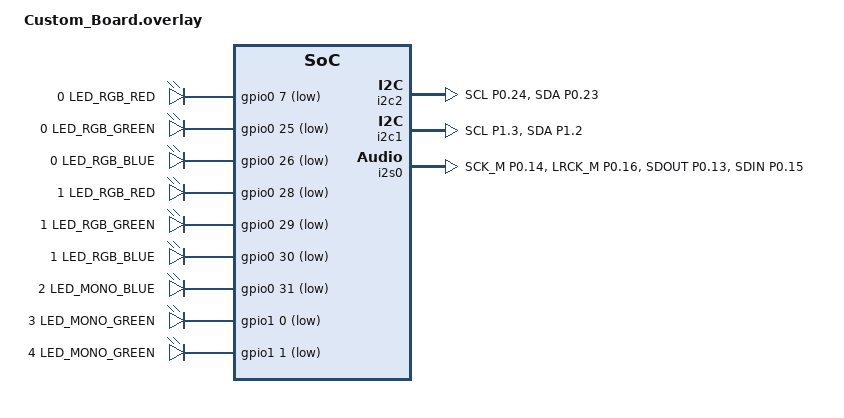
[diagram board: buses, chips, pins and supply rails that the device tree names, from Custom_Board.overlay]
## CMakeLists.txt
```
# SPDX-License-Identifier: Apache-2.0

cmake_minimum_required(VERSION 3.20.0)
find_package(Zephyr REQUIRED HINTS $ENV{ZEPHYR_BASE})
project(bap_broadcast_sink)

target_sources(app PRIVATE
  src/main.c
  src/stream_rx.c
)

target_sources_ifdef(CONFIG_ENABLE_LC3 app PRIVATE src/lc3.c)

if (CONFIG_USE_USB_AUDIO_OUTPUT)
  include(${ZEPHYR_BASE}/samples/subsys/usb/common/common.cmake)
  target_sources(app PRIVATE src/usb.c)
endif()

target_sources_ifdef(CONFIG_USE_I2S_CODEC_OUTPUT app PRIVATE
  src/codec_output.c
  src/codec_sgtl5000.c
  src/i2c_helpers.c
  src/pmic.c
)
```

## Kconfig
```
# Copyright (c) 2022 Nordic Semiconductor ASA
# SPDX-License-Identifier: Apache-2.0

mainmenu "Bluetooth: Broadcast Audio Sink"

config SCAN_OFFLOAD
	bool "Whether to wait for a Broadcast Assistant"
	default y
	# enable PAST support if we can
	select BT_PER_ADV_SYNC_TRANSFER_RECEIVER if !BT_CTLR || BT_CTLR_SYNC_TRANSFER_RECEIVER_SUPPORT
	help
	  If set to true, the sample will start advertising connectable for
	  Broadcast Assistants.

config SCAN_SELF
	bool "Whether to scan for Broadcast Sources without Broadcast Assistant"
	default y
	help
	  If set to true, the sample will start scanning for Broadcast Sources
	  without waiting for a Broadcast Assistant to connect.

config SCAN_DELAY
	int "Delay before starting scan (in seconds)"
	range 0 255
	default 10
	depends on SCAN_SELF
	help
	  Time to advertise connectable for a Broadcast Assistant to connect
	  before starting scanning for Broadcast Sources.

config TARGET_BROADCAST_NAME
	string "Target Broadcast Device Name"
	default ""
	help
	  Name of target broadcast device. If not empty string, sink device
	  will only listen to the specified broadcast source. Not case sensitive.

config MAX_CODEC_FRAMES_PER_SDU
	int "The maximum number of codec frame per SDU supported"
	default 1
	range 1 255
	help
	  Maximum number of codec frames per SDU supported by this device. Increasing this value
	  allows support for a greater variety of broadcasts, but also increases memory usage.

config ENABLE_LC3
	bool "Enable the LC3 codec"
	# By default let's enable it in the platforms we know are capable of supporting it
	default y
	depends on CPU_HAS_FPU && \
		(ARCH_POSIX || SOC_COMPATIBLE_NRF52X || SOC_COMPATIBLE_NRF5340_CPUAPP)
	select LIBLC3
	select FPU

config USE_USB_AUDIO_OUTPUT
	bool "Use USB Audio as output"
	depends on ENABLE_LC3
	depends on !USE_I2S_CODEC_OUTPUT
	select USB_DEVICE_STACK_NEXT
	select USBD_AUDIO2_CLASS
	select RING_BUFFER
	help
	  Enables USB audio as output as a USB peripheral. This does not support providing USB
	  audio to e.g. speakers that are also USB peripherals, but can be connected to e.g. a
	  phone or PC as a USB-in device (such as a USB microphone).
	  USB audio only supports a single audio channel.

config USE_I2S_CODEC_OUTPUT
	bool "Use I2S codec as output"
	depends on ENABLE_LC3
	select I2C
	select I2S
	help
	  Enables output of decoded PCM audio to an external codec through I2S.
	  This is intended for hardware variants using the SGTL5000 codec and
	  companion PMIC configuration from the nrf5340_audio_dk based setup.

config USE_SPECIFIC_BROADCAST_CHANNEL
	bool "Use specific Broadcast Channel Audio Location"
	default y
	depends on USE_USB_AUDIO_OUTPUT
	help
	  Enables the use of a specific Channel Audio Location (see config TARGET_BROADCAST_CHANNEL).

config TARGET_BROADCAST_CHANNEL
	int "Broadcast Channel Audio Location to sync to"
	range 0 3
	default 1
	depends on USE_SPECIFIC_BROADCAST_CHANNEL
	help
	  Channel Audio Location to sync to. These corresponds to the bt_audio_location,
	  supporting mono, left and right channels

config INFO_REPORTING_INTERVAL
	int "Number of SDUs received between each information report"
	default 1000
	help
	  Determines how often information about received data is logged.
	  Set to 0 to disable reporting.

# Source common USB sample options used to initialize new experimental USB device stack.
# The scope of these options is limited to USB samples in project tree,
# you cannot use them in your own application.
source "samples/subsys/usb/common/Kconfig.sample_usbd"

source "Kconfig.zephyr"
```

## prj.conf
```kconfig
CONFIG_BT=y
CONFIG_LOG=y
CONFIG_BT_AUDIO=y
CONFIG_BT_SMP=y
CONFIG_BT_PAC_SNK=y
CONFIG_BT_PERIPHERAL=y
CONFIG_BT_GAP_AUTO_UPDATE_CONN_PARAMS=n
# Set preferred values based on BT_BAP_CONN_PARAM_RELAXED
CONFIG_BT_PERIPHERAL_PREF_MIN_INT=50
CONFIG_BT_PERIPHERAL_PREF_MAX_INT=70
CONFIG_BT_PERIPHERAL_PREF_LATENCY=0
CONFIG_BT_PERIPHERAL_PREF_TIMEOUT=400
CONFIG_BT_OBSERVER=y
CONFIG_BT_GATT_DYNAMIC_DB=y
CONFIG_BT_EXT_ADV=y
CONFIG_BT_PER_ADV_SYNC=y
CONFIG_BT_ISO_SYNC_RECEIVER=y
CONFIG_BT_BAP_BROADCAST_SINK=y
CONFIG_BT_BAP_SCAN_DELEGATOR=y
CONFIG_BT_ISO_MAX_CHAN=2
# Allocate 4 RX buffers per channel
CONFIG_BT_ISO_RX_BUF_COUNT=8
CONFIG_BT_BAP_BROADCAST_SNK_SUBGROUP_COUNT=2
CONFIG_BT_BAP_BROADCAST_SNK_STREAM_COUNT=2
CONFIG_BT_BAP_BASS_MAX_SUBGROUPS=2
CONFIG_BT_BUF_ACL_RX_SIZE=255
CONFIG_BT_BUF_ACL_TX_SIZE=251
CONFIG_BT_AUDIO_CODEC_CFG_MAX_METADATA_SIZE=64
CONFIG_BT_AUDIO_CODEC_CFG_MAX_DATA_SIZE=64
CONFIG_BT_AUDIO_CODEC_CAP_MAX_METADATA_SIZE=64
CONFIG_BT_AUDIO_CODEC_CAP_MAX_DATA_SIZE=64

CONFIG_BT_DEVICE_NAME="Broadcast Audio Sink"

CONFIG_USE_USB_AUDIO_OUTPUT=n
```

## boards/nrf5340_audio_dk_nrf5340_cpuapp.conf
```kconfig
# Use USB Audio as audio sink
CONFIG_USE_USB_AUDIO_OUTPUT=n
CONFIG_USE_I2S_CODEC_OUTPUT=y
#CONFIG_SAMPLE_USBD_PRODUCT="USB Broadcast Sink sample"
```

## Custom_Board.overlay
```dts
&{/} {
    leds {
        compatible = "gpio-leds";

        rgb1_red: led_0 {
			gpios = <&gpio0 7 (GPIO_ACTIVE_LOW | GPIO_OPEN_DRAIN)>;
			label = "0 LED_RGB_RED";
		};

		rgb1_green: led_1 {
			gpios = <&gpio0 25 (GPIO_ACTIVE_LOW | GPIO_OPEN_DRAIN)>;
			label = "0 LED_RGB_GREEN";
		};

		rgb1_blue: led_2 {
			gpios = <&gpio0 26 (GPIO_ACTIVE_LOW | GPIO_OPEN_DRAIN)>;
			label = "0 LED_RGB_BLUE";
		};

		rgb2_red: led_3 {
			gpios = <&gpio0 28 (GPIO_ACTIVE_LOW | GPIO_OPEN_DRAIN)>;
			label = "1 LED_RGB_RED";
		};

		rgb2_green: led_4 {
			gpios = <&gpio0 29 (GPIO_ACTIVE_LOW | GPIO_OPEN_DRAIN)>;
			label = "1 LED_RGB_GREEN";
		};

		rgb2_blue: led_5 {
			gpios = <&gpio0 30 (GPIO_ACTIVE_LOW | GPIO_OPEN_DRAIN)>;
			label = "1 LED_RGB_BLUE";
		};

		led1_blue: led_6 {
			gpios = <&gpio0 31 (GPIO_ACTIVE_LOW | GPIO_OPEN_DRAIN)>;
			label = "2 LED_MONO_BLUE";
		};

		led2_green: led_7 {
			gpios = <&gpio1 0 (GPIO_ACTIVE_LOW | GPIO_OPEN_DRAIN)>;
			label = "3 LED_MONO_GREEN";
		};

		led3_green: led_8 {
			gpios = <&gpio1 1 (GPIO_ACTIVE_LOW | GPIO_OPEN_DRAIN)>;
			label = "4 LED_MONO_GREEN";
		};
    };
};

&i2c2 {
    status = "okay";
    pinctrl-0 = <&i2c2_default>;
    pinctrl-1 = <&i2c2_sleep>;
    pinctrl-names = "default", "sleep";
};

&pinctrl {
    i2c2_default: i2c2_default {
        group1 {
            psels = <NRF_PSEL(TWIM_SCL, 0, 24)>, <NRF_PSEL(TWIM_SDA, 0, 23)>;
        };
    };

    i2c2_sleep: i2c2_sleep {
        group1 {
            psels = <NRF_PSEL(TWIM_SCL, 0, 24)>, <NRF_PSEL(TWIM_SDA, 0, 23)>;
        };
    };
};

&i2c1 {
    status = "okay";
    pinctrl-0 = <&i2c1_default>;
    pinctrl-1 = <&i2c1_sleep>;
    pinctrl-names = "default", "sleep";
};

&clock {
	hfclkaudio-frequency = <12288000>;
};

&i2s0 {
	compatible = "nordic,nrf-i2s";
	status = "okay";
	pinctrl-0 = <&i2s0_default>;
	pinctrl-1 = <&i2s0_sleep>;
	pinctrl-names = "default", "sleep";
	clock-source = "ACLK";
};

&pinctrl {
    i2c1_default: i2c1_default {
        group1 {
            psels = <NRF_PSEL(TWIM_SCL, 1, 3)>,
                    <NRF_PSEL(TWIM_SDA, 1, 2)>;
        };
    };

    i2c1_sleep: i2c1_sleep {
        group1 {
            psels = <NRF_PSEL(TWIM_SCL, 1, 3)>,
                    <NRF_PSEL(TWIM_SDA, 1, 2)>;
        };
    };

	i2s0_default: i2s0_default {
		group1 {
			psels = <NRF_PSEL(I2S_SCK_M, 0, 14)>,
				<NRF_PSEL(I2S_LRCK_M, 0, 16)>,
				<NRF_PSEL(I2S_SDOUT, 0, 13)>,
				<NRF_PSEL(I2S_SDIN, 0, 15)>;
		};
	};

	i2s0_sleep: i2s0_sleep {
		group1 {
			psels = <NRF_PSEL(I2S_SCK_M, 0, 14)>,
				<NRF_PSEL(I2S_LRCK_M, 0, 16)>,
				<NRF_PSEL(I2S_SDOUT, 0, 13)>,
				<NRF_PSEL(I2S_SDIN, 0, 15)>;
			low-power-enable;
		};
	};
};
```

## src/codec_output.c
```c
/*
 * Copyright (c) 2026
 *
 * SPDX-License-Identifier: Apache-2.0
 */

#include <errno.h>
#include <stdbool.h>
#include <stddef.h>
#include <stdint.h>
#include <string.h>

#include <zephyr/device.h>
#include <zephyr/drivers/i2s.h>
#include <zephyr/kernel.h>
#include <zephyr/logging/log.h>
#include <zephyr/sys/util.h>

#include "codec_output.h"
#include "codec_sgtl5000.h"
#include "lc3.h"
#include "pmic.h"

LOG_MODULE_REGISTER(codec_output, CONFIG_LOG_DEFAULT_LEVEL);

#define I2S_CODEC_BLOCK_SIZE_BYTES     (LC3_MAX_NUM_SAMPLES_STEREO * sizeof(int16_t))
#define I2S_CODEC_BLOCK_COUNT          24U
#define I2S_CODEC_DRIVER_PRELOAD_BLOCKS 4U
#define I2S_CODEC_MIN_BUFFER_US        120000U
#define I2S_CODEC_TIMEOUT_MS           1000
#define CODEC_OUTPUT_THREAD_STACK_SIZE 2048
#define CODEC_OUTPUT_THREAD_PRIORITY   2

struct decoded_sdu {
	int16_t right_frames[CONFIG_MAX_CODEC_FRAMES_PER_SDU][LC3_MAX_NUM_SAMPLES_MONO];
	int16_t left_frames[CONFIG_MAX_CODEC_FRAMES_PER_SDU][LC3_MAX_NUM_SAMPLES_MONO];
	size_t right_frames_cnt;
	size_t left_frames_cnt;
	size_t mono_frames_cnt;
	size_t frame_size_bytes;
	uint32_t ts;
};

struct codec_output_block {
	void *mem_block;
	size_t size;
	uint32_t session_id;
};

K_MEM_SLAB_DEFINE_STATIC(i2s_tx_slab, I2S_CODEC_BLOCK_SIZE_BYTES, I2S_CODEC_BLOCK_COUNT, 4);
K_MSGQ_DEFINE(codec_output_msgq, sizeof(struct codec_output_block), I2S_CODEC_BLOCK_COUNT, 4);
K_SEM_DEFINE(codec_output_start_sem, 0, 1);

static const struct device *const codec_i2s = DEVICE_DT_GET(DT_NODELABEL(i2s0));
static struct decoded_sdu decoded_sdu;
static struct k_thread codec_output_thread;
static K_KERNEL_STACK_DEFINE(codec_output_thread_stack, CODEC_OUTPUT_THREAD_STACK_SIZE);
static bool initialized;
static bool pmic_initialized;
static bool tx_started;
static bool worker_initialized;
static uint32_t current_sample_rate_hz;
static uint32_t configured_presentation_delay_us;
static uint32_t current_session_id;
static size_t current_stereo_frame_bytes;

static bool ts_overflowed(uint32_t ts)
{
	/* If the timestamp differs by roughly an order of magnitude, assume wraparound. */
	return ((uint64_t)ts * 10U) < decoded_sdu.ts;
}

static uint32_t next_session_id(uint32_t session_id)
{
	session_id++;

	if (session_id == 0U) {
		session_id++;
	}

	return session_id;
}

static uint32_t codec_output_get_frame_duration_us(size_t stereo_frame_bytes)
{
	const uint64_t mono_samples = stereo_frame_bytes / (2U * sizeof(int16_t));

	if (current_sample_rate_hz == 0U || stereo_frame_bytes == 0U) {
		return 0U;
	}

	return (uint32_t)((mono_samples * USEC_PER_SEC) / current_sample_rate_hz);
}

static size_t codec_output_get_startup_block_target(size_t stereo_frame_bytes)
{
	const uint32_t frame_duration_us = codec_output_get_frame_duration_us(stereo_frame_bytes);
	const uint32_t target_buffer_us =
		MAX(configured_presentation_delay_us, I2S_CODEC_MIN_BUFFER_US);
	size_t target;

	if (frame_duration_us == 0U) {
		return 1U;
	}

	target = DIV_ROUND_UP(target_buffer_us, frame_duration_us);

	if (target >= I2S_CODEC_BLOCK_COUNT) {
		target = I2S_CODEC_BLOCK_COUNT - 1U;
	}

	return MAX(target, 1U);
}

static void codec_output_free_block(const struct codec_output_block *block)
{
	if (block->mem_block != NULL) {
		k_mem_slab_free(&i2s_tx_slab, block->mem_block);
	}
}

static int codec_output_alloc_silence_block(size_t size, struct codec_output_block *block)
{
	void *mem_block;
	int ret;

	if (size == 0U || size > I2S_CODEC_BLOCK_SIZE_BYTES || block == NULL) {
		return -EINVAL;
	}

	ret = k_mem_slab_alloc(&i2s_tx_slab, &mem_block, K_NO_WAIT);
	if (ret != 0) {
		return ret;
	}

	memset(mem_block, 0, size);

	block->mem_block = mem_block;
	block->size = size;
	block->session_id = current_session_id;

	return 0;
}

static void codec_output_purge_pending_blocks(void)
{
	struct codec_output_block block;

	while (k_msgq_get(&codec_output_msgq, &block, K_NO_WAIT) == 0) {
		codec_output_free_block(&block);
	}
}

static int codec_output_drop_tx(void)
{
	int ret;

	if (!initialized) {
		tx_started = false;
		return 0;
	}

	ret = i2s_trigger(codec_i2s, I2S_DIR_TX, I2S_TRIGGER_DROP);
	tx_started = false;
	if (ret != 0) {
		LOG_WRN("Failed to drop I2S TX stream: %d", ret);
	}

	return ret;
}

static int codec_output_write_block_to_i2s(const struct codec_output_block *block)
{
	int ret;

	ret = i2s_write(codec_i2s, block->mem_block, block->size);
	if (ret != 0) {
		LOG_WRN("Failed to queue I2S frame: %d", ret);
		codec_output_free_block(block);
	}

	return ret;
}

static int codec_output_start_tx_if_ready(void)
{
	struct codec_output_block block;
	const uint32_t target_buffer_us =
		MAX(configured_presentation_delay_us, I2S_CODEC_MIN_BUFFER_US);
	size_t preloaded_blocks = 0U;
	int ret;

	if (!initialized || tx_started) {
		return 0;
	}

	while (preloaded_blocks < I2S_CODEC_DRIVER_PRELOAD_BLOCKS) {
		ret = k_msgq_get(&codec_output_msgq, &block, K_NO_WAIT);
		if (ret != 0) {
			break;
		}

		if (block.session_id != current_session_id || !initialized) {
			codec_output_free_block(&block);
			continue;
		}

		ret = codec_output_write_block_to_i2s(&block);
		if (ret != 0) {
			(void)codec_output_drop_tx();
			codec_output_purge_pending_blocks();
			return ret;
		}

		preloaded_blocks++;
	}

	if (preloaded_blocks == 0U) {
		return -ENOENT;
	}

	LOG_INF("Starting I2S TX with %u buffered frame blocks (%u us target)",
		(unsigned int)(preloaded_blocks + k_msgq_num_used_get(&codec_output_msgq)),
		target_buffer_us);

	ret = i2s_trigger(codec_i2s, I2S_DIR_TX, I2S_TRIGGER_START);
	if (ret != 0) {
		LOG_ERR("Failed to start I2S TX: %d", ret);
		(void)codec_output_drop_tx();
		codec_output_purge_pending_blocks();
		return ret;
	}

	tx_started = true;

	return 0;
}

static int codec_output_queue_block(void *mem_block, size_t size)
{
	struct codec_output_block block = {
		.mem_block = mem_block,
		.size = size,
		.session_id = current_session_id,
	};
	const size_t startup_block_target = codec_output_get_startup_block_target(size);
	int ret;

	ret = k_msgq_put(&codec_output_msgq, &block, K_NO_WAIT);
	if (ret != 0) {
		codec_output_free_block(&block);
		return ret;
	}

	current_stereo_frame_bytes = size;

	if (!tx_started && k_msgq_num_used_get(&codec_output_msgq) >= startup_block_target) {
		k_sem_give(&codec_output_start_sem);
	}

	return 0;
}

static bool codec_output_frames_ready(void)
{
	if (decoded_sdu.mono_frames_cnt != 0U) {
		return true;
	}

	if (decoded_sdu.left_frames_cnt == 0U || decoded_sdu.right_frames_cnt == 0U) {
		return false;
	}

	return decoded_sdu.left_frames_cnt == decoded_sdu.right_frames_cnt;
}

static int codec_output_send_frames(void)
{
	const bool is_left_only =
		(decoded_sdu.right_frames_cnt == 0U) && (decoded_sdu.mono_frames_cnt == 0U);
	const bool is_right_only =
		(decoded_sdu.left_frames_cnt == 0U) && (decoded_sdu.mono_frames_cnt == 0U);
	const bool is_mono_only =
		(decoded_sdu.left_frames_cnt == 0U) && (decoded_sdu.right_frames_cnt == 0U);
	const bool is_single_channel = is_left_only || is_right_only || is_mono_only;
	const size_t frame_cnt = MAX(decoded_sdu.mono_frames_cnt,
				     MAX(decoded_sdu.left_frames_cnt, decoded_sdu.right_frames_cnt));
	const size_t mono_samples = decoded_sdu.frame_size_bytes / sizeof(int16_t);
	const size_t stereo_frame_bytes = decoded_sdu.frame_size_bytes * 2U;

	if (frame_cnt == 0U || decoded_sdu.frame_size_bytes == 0U || mono_samples == 0U) {
		codec_output_clear_frames();
		return 0;
	}

	if (!initialized) {
		codec_output_clear_frames();
		return -EACCES;
	}

	for (size_t i = 0U; i < frame_cnt; i++) {
		int16_t *stereo_frame;
		const int16_t *right_frame = decoded_sdu.right_frames[i];
		const int16_t *left_frame = decoded_sdu.left_frames[i];
		const int16_t *mono_frame = decoded_sdu.left_frames[i];
		int ret;

		ret = k_mem_slab_alloc(&i2s_tx_slab, (void **)&stereo_frame, K_NO_WAIT);
		if (ret != 0) {
			LOG_WRN("No I2S TX block available: %d", ret);
			codec_output_clear_frames();
			return ret;
		}

		for (size_t j = 0U; j < mono_samples; j++) {
			if (is_single_channel) {
				const int16_t sample =
					is_left_only ? left_frame[j] :
					is_right_only ? right_frame[j] : mono_frame[j];

				stereo_frame[j * 2U] = sample;
				stereo_frame[j * 2U + 1U] = sample;
			} else {
				stereo_frame[j * 2U] = left_frame[j];
				stereo_frame[j * 2U + 1U] = right_frame[j];
			}
		}

		ret = codec_output_queue_block(stereo_frame, stereo_frame_bytes);
		if (ret != 0) {
			LOG_WRN("Failed to queue PCM block for I2S worker: %d", ret);
			codec_output_clear_frames();
			return ret;
		}
	}

	codec_output_clear_frames();

	return 0;
}

static void codec_output_thread_func(void *arg1, void *arg2, void *arg3)
{
	ARG_UNUSED(arg1);
	ARG_UNUSED(arg2);
	ARG_UNUSED(arg3);

	while (true) {
		struct codec_output_block block;
		uint32_t frame_duration_us;
		k_timeout_t wait_timeout;
		int ret;

		if (!initialized || !tx_started) {
			k_sem_take(&codec_output_start_sem, K_FOREVER);

			if (!initialized || tx_started) {
				continue;
			}

			ret = codec_output_start_tx_if_ready();
			if (ret != 0 && ret != -ENOENT) {
				LOG_WRN("Failed to start buffered I2S TX: %d", ret);
			}

			continue;
		}

		frame_duration_us = codec_output_get_frame_duration_us(current_stereo_frame_bytes);
		if (frame_duration_us == 0U) {
			wait_timeout = K_MSEC(5);
		} else {
			wait_timeout = K_USEC(MAX(frame_duration_us / 2U, 1000U));
		}

		ret = k_msgq_get(&codec_output_msgq, &block, wait_timeout);
		if (ret != 0) {
			if (current_stereo_frame_bytes != 0U) {
				ret = codec_output_alloc_silence_block(current_stereo_frame_bytes,
								       &block);
				if (ret == 0) {
					ret = codec_output_write_block_to_i2s(&block);
					if (ret != 0) {
						(void)codec_output_drop_tx();
						codec_output_purge_pending_blocks();
					}
				}
			}

			continue;
		}

		if (!initialized || block.session_id != current_session_id) {
			codec_output_free_block(&block);
			continue;
		}

		if (!tx_started) {
			ret = k_msgq_put(&codec_output_msgq, &block, K_NO_WAIT);
			if (ret != 0) {
				codec_output_free_block(&block);
			}

			continue;
		}

		ret = codec_output_write_block_to_i2s(&block);
		if (ret != 0) {
			(void)codec_output_drop_tx();
			codec_output_purge_pending_blocks();
		}
	}
}

int codec_output_add_frame(enum bt_audio_location chan_allocation, const int16_t *frame,
			   size_t frame_size, uint32_t ts)
{
	const bool is_left = (chan_allocation & BT_AUDIO_LOCATION_FRONT_LEFT) != 0;
	const bool is_right = (chan_allocation & BT_AUDIO_LOCATION_FRONT_RIGHT) != 0;
	const bool is_mono = chan_allocation == BT_AUDIO_LOCATION_MONO_AUDIO;
	const uint8_t ts_jitter_us = 100U;

	if (frame == NULL || frame_size == 0U ||
	    frame_size > (LC3_MAX_NUM_SAMPLES_MONO * sizeof(int16_t))) {
		return -EINVAL;
	}

	if (bt_audio_get_chan_count(chan_allocation) != 1U) {
		return -EINVAL;
	}

	if (((is_left || is_right) && decoded_sdu.mono_frames_cnt != 0U) ||
	    (is_mono &&
	     (decoded_sdu.left_frames_cnt != 0U || decoded_sdu.right_frames_cnt != 0U))) {
		return -EINVAL;
	}

	if (decoded_sdu.frame_size_bytes != 0U && decoded_sdu.frame_size_bytes != frame_size) {
		(void)codec_output_send_frames();
	}

	if (ts + ts_jitter_us < decoded_sdu.ts && !ts_overflowed(ts)) {
		return -ENOEXEC;
	} else if (ts > decoded_sdu.ts + ts_jitter_us || ts_overflowed(ts)) {
		(void)codec_output_send_frames();
	} else {
		bool send = false;

		if (is_left && decoded_sdu.left_frames_cnt > decoded_sdu.right_frames_cnt) {
			send = true;
		} else if (is_right && decoded_sdu.right_frames_cnt > decoded_sdu.left_frames_cnt) {
			send = true;
		} else if (is_mono) {
			send = true;
		}

		if (send) {
			(void)codec_output_send_frames();
		}
	}

	if (is_left) {
		if (decoded_sdu.left_frames_cnt >= ARRAY_SIZE(decoded_sdu.left_frames)) {
			return -ENOMEM;
		}

		memcpy(decoded_sdu.left_frames[decoded_sdu.left_frames_cnt++], frame, frame_size);
	} else if (is_right) {
		if (decoded_sdu.right_frames_cnt >= ARRAY_SIZE(decoded_sdu.right_frames)) {
			return -ENOMEM;
		}

		memcpy(decoded_sdu.right_frames[decoded_sdu.right_frames_cnt++], frame, frame_size);
	} else if (is_mono) {
		if (decoded_sdu.mono_frames_cnt >= ARRAY_SIZE(decoded_sdu.left_frames)) {
			return -ENOMEM;
		}

		memcpy(decoded_sdu.left_frames[decoded_sdu.mono_frames_cnt++], frame, frame_size);
	} else {
		return -EINVAL;
	}

	decoded_sdu.frame_size_bytes = frame_size;
	decoded_sdu.ts = ts;

	if (codec_output_frames_ready()) {
		return codec_output_send_frames();
	}

	return 0;
}

void codec_output_clear_frames(void)
{
	decoded_sdu.mono_frames_cnt = 0U;
	decoded_sdu.right_frames_cnt = 0U;
	decoded_sdu.left_frames_cnt = 0U;
	decoded_sdu.frame_size_bytes = 0U;
	decoded_sdu.ts = 0U;
}

int codec_output_init(uint32_t sample_rate_hz, uint32_t presentation_delay_us)
{
	struct i2s_config cfg = {
		.word_size = 16,
		.channels = 2,
		.format = I2S_FMT_DATA_FORMAT_I2S,
		.options = I2S_OPT_BIT_CLK_MASTER | I2S_OPT_FRAME_CLK_MASTER,
		.frame_clk_freq = sample_rate_hz,
		.mem_slab = &i2s_tx_slab,
		.block_size = I2S_CODEC_BLOCK_SIZE_BYTES,
		.timeout = I2S_CODEC_TIMEOUT_MS,
	};
	int ret;

	if (sample_rate_hz == 0U) {
		return -EINVAL;
	}

	if (!device_is_ready(codec_i2s)) {
		return -ENODEV;
	}

	if (!worker_initialized) {
		k_thread_create(&codec_output_thread, codec_output_thread_stack,
				K_KERNEL_STACK_SIZEOF(codec_output_thread_stack),
				codec_output_thread_func, NULL, NULL, NULL,
				K_PRIO_PREEMPT(CODEC_OUTPUT_THREAD_PRIORITY), 0, K_NO_WAIT);
		k_thread_name_set(&codec_output_thread, "codec_output");
		worker_initialized = true;
	}

	if (initialized && current_sample_rate_hz == sample_rate_hz) {
		configured_presentation_delay_us = presentation_delay_us;
		return 0;
	}

	if (!pmic_initialized) {
		ret = pmic_init();
		if (ret != 0) {
			LOG_ERR("Failed to initialize PMIC: %d", ret);
			return ret;
		}

		pmic_initialized = true;
	}

	if (initialized) {
		ret = codec_output_drop_tx();
		if (ret != 0) {
			LOG_ERR("Failed to stop active I2S TX before reconfigure: %d", ret);
			return ret;
		}
	}

	codec_output_purge_pending_blocks();
	codec_output_clear_frames();
	k_sem_reset(&codec_output_start_sem);
	current_session_id = next_session_id(current_session_id);

	ret = codec_init(sample_rate_hz);
	if (ret != 0) {
		LOG_ERR("Failed to initialize SGTL5000: %d", ret);
		return ret;
	}

	ret = i2s_configure(codec_i2s, I2S_DIR_TX, &cfg);
	if (ret != 0) {
		LOG_ERR("Failed to configure I2S TX: %d", ret);
		return ret;
	}

	initialized = true;
	tx_started = false;
	current_sample_rate_hz = sample_rate_hz;
	configured_presentation_delay_us = presentation_delay_us;
	current_stereo_frame_bytes = 0U;

	return 0;
}

int codec_output_stop(void)
{
	int ret = 0;

	if (initialized) {
		ret = codec_output_drop_tx();
	}

	codec_output_purge_pending_blocks();
	codec_output_clear_frames();
	k_sem_reset(&codec_output_start_sem);
	initialized = false;
	tx_started = false;
	current_sample_rate_hz = 0U;
	configured_presentation_delay_us = 0U;
	current_session_id = next_session_id(current_session_id);
	current_stereo_frame_bytes = 0U;

	return ret;
}
```

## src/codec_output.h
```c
/*
 * Copyright (c) 2026
 *
 * SPDX-License-Identifier: Apache-2.0
 */

#ifndef SAMPLE_BAP_BROADCAST_SINK_CODEC_OUTPUT_H
#define SAMPLE_BAP_BROADCAST_SINK_CODEC_OUTPUT_H

#include <stddef.h>
#include <stdint.h>

#include <zephyr/bluetooth/audio/audio.h>

int codec_output_init(uint32_t sample_rate_hz, uint32_t presentation_delay_us);
int codec_output_stop(void);
int codec_output_add_frame(enum bt_audio_location chan_allocation, const int16_t *frame,
			   size_t frame_size, uint32_t ts);
void codec_output_clear_frames(void);

#endif /* SAMPLE_BAP_BROADCAST_SINK_CODEC_OUTPUT_H */
```

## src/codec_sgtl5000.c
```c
/*
 * Copyright (c) 2026
 *
 * SPDX-License-Identifier: Apache-2.0
 */

#include <errno.h>
#include <stdbool.h>
#include <stdint.h>

#include <zephyr/device.h>
#include <zephyr/drivers/i2c.h>
#include <zephyr/kernel.h>
#include <zephyr/sys/util.h>
#include <zephyr/sys/printk.h>

#include "codec_sgtl5000.h"
#include "i2c_helpers.h"

#define SGTL5000_ADDR            0x0A

#define CHIP_DIG_POWER           0x0002
#define CHIP_CLK_CTRL            0x0004
#define CHIP_I2S_CTRL            0x0006
#define CHIP_SSS_CTRL            0x000A
#define CHIP_ADCDAC_CTRL         0x000E
#define CHIP_DAC_VOL             0x0010
#define CHIP_ANA_ADC_CTRL        0x0020
#define CHIP_ANA_CTRL            0x0024
#define CHIP_LINREG_CTRL         0x0026
#define CHIP_REF_CTRL            0x0028
#define CHIP_LINE_OUT_CTRL       0x002C
#define CHIP_LINE_OUT_VOL        0x002E
#define CHIP_ANA_POWER           0x0030
#define CHIP_SHORT_CTRL          0x003C

#define BIT_SHIFT(x)             BIT(x)

#define TRY(_expr)                                                                          \
	do {                                                                                \
		int _ret = (_expr);                                                         \
                                                                                         \
		if (_ret != 0) {                                                            \
			return _ret;                                                        \
		}                                                                            \
	} while (false)

static const struct device *const codec_i2c = DEVICE_DT_GET(DT_NODELABEL(i2c1));

static int codec_write(uint16_t reg, uint16_t val)
{
	return i2c_reg_write16_16(codec_i2c, SGTL5000_ADDR, reg, val);
}

static int codec_mod(uint16_t reg, uint16_t clear_mask, uint16_t set_mask)
{
	return i2c_reg_update16_16(codec_i2c, SGTL5000_ADDR, reg, clear_mask, set_mask);
}

static int codec_get_clk_ctrl_value(uint32_t sample_rate_hz, uint16_t *clk_ctrl)
{
	switch (sample_rate_hz) {
	case 16000U:
		/* SYS_FS = 32 kHz, RATE_MODE = 1/2, MCLK = 384 * SYS_FS = 12.288 MHz */
		*clk_ctrl = 0x0011;
		return 0;
	case 24000U:
		/* SYS_FS = 48 kHz, RATE_MODE = 1/2, MCLK = 256 * SYS_FS = 12.288 MHz */
		*clk_ctrl = 0x0018;
		return 0;
	case 32000U:
		/* Original codec_test configuration: SYS_FS = 32 kHz, MCLK = 384 * Fs. */
		*clk_ctrl = 0x0001;
		return 0;
	case 48000U:
		/* SYS_FS = 48 kHz, MCLK = 256 * Fs = 12.288 MHz. */
		*clk_ctrl = 0x0008;
		return 0;
	default:
		return -EINVAL;
	}
}

int codec_init(uint32_t sample_rate_hz)
{
	uint16_t clk_ctrl;

	if (!device_is_ready(codec_i2c)) {
		printk("SGTL5000 I2C not ready\n");
		return -ENODEV;
	}

	if (codec_get_clk_ctrl_value(sample_rate_hz, &clk_ctrl) != 0) {
		printk("Unsupported SGTL5000 sample rate: %u\n", sample_rate_hz);
		return -EINVAL;
	}

	/* Power up bias/reference and keep only the required analog blocks enabled. */
	TRY(codec_write(CHIP_ANA_POWER, 0x4060));
	TRY(codec_mod(CHIP_LINREG_CTRL, ~(BIT_SHIFT(5) | BIT_SHIFT(6)),
		      (BIT_SHIFT(5) | BIT_SHIFT(6))));

	TRY(codec_write(CHIP_REF_CTRL, 0x01DE));
	TRY(codec_mod(CHIP_LINE_OUT_CTRL, ~0x0322, 0x0322));
	TRY(codec_mod(CHIP_REF_CTRL, ~BIT_SHIFT(0), BIT_SHIFT(0)));
	TRY(codec_write(CHIP_SHORT_CTRL, 0x1106));
	TRY(codec_write(CHIP_ANA_CTRL, 0x0137));

	TRY(codec_mod(CHIP_ANA_POWER, ~0x000B, 0x000B));
	TRY(codec_mod(CHIP_ANA_POWER, ~0x0080, 0x0080));
	k_msleep(100);

	/* Power up I2S input and DAC path. */
	TRY(codec_write(CHIP_DIG_POWER, 0x0063));

	TRY(codec_write(CHIP_LINE_OUT_VOL, 0x0E0E));

	/* Program sample-rate-specific SYS_FS/RATE_MODE/MCLK ratio for 12.288 MHz ACLK. */
	TRY(codec_mod(CHIP_CLK_CTRL, ~0x003F, clk_ctrl));

	/* 16-bit samples, I2S format, codec as slave. */
	TRY(codec_write(CHIP_I2S_CTRL, 0x0030));

	/* Route I2S input to DAC and ADC to I2S_DOUT (unused but harmless). */
	TRY(codec_write(CHIP_SSS_CTRL, 0x0010));

	TRY(codec_mod(CHIP_ANA_CTRL, ~0x0101, 0x0000));
	TRY(codec_write(CHIP_ANA_ADC_CTRL, 0x0144));

	TRY(codec_mod(CHIP_ANA_CTRL, ~0x0100, 0x0100));
	TRY(codec_write(CHIP_DAC_VOL, 0x3C3C));
	TRY(codec_mod(CHIP_ADCDAC_CTRL, ~0x000C, 0x0000));
	TRY(codec_mod(CHIP_ADCDAC_CTRL, ~0x0300, 0x0300));
	TRY(codec_mod(CHIP_ANA_CTRL, ~0x0100, 0x0000));

	return 0;
}
```

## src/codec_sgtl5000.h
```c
/*
 * Copyright (c) 2026
 *
 * SPDX-License-Identifier: Apache-2.0
 */

#ifndef SAMPLE_BAP_BROADCAST_SINK_CODEC_SGTL5000_H
#define SAMPLE_BAP_BROADCAST_SINK_CODEC_SGTL5000_H

int codec_init(uint32_t sample_rate_hz);

#endif /* SAMPLE_BAP_BROADCAST_SINK_CODEC_SGTL5000_H */
```

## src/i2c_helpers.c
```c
/*
 * Copyright (c) 2026
 *
 * SPDX-License-Identifier: Apache-2.0
 */

#include <zephyr/drivers/i2c.h>

#include "i2c_helpers.h"

int i2c_reg_write16(const struct device *i2c, uint8_t addr, uint16_t reg, uint8_t val)
{
	uint8_t buf[3];

	buf[0] = (uint8_t)(reg >> 8);
	buf[1] = (uint8_t)reg;
	buf[2] = val;

	return i2c_write(i2c, buf, sizeof(buf), addr);
}

int i2c_reg_read16(const struct device *i2c, uint8_t addr, uint16_t reg, uint8_t *val)
{
	uint8_t reg_buf[2];

	reg_buf[0] = (uint8_t)(reg >> 8);
	reg_buf[1] = (uint8_t)reg;

	return i2c_write_read(i2c, addr, reg_buf, sizeof(reg_buf), val, sizeof(*val));
}

int i2c_reg_write16_16(const struct device *i2c, uint8_t addr, uint16_t reg, uint16_t val)
{
	uint8_t buf[4];

	buf[0] = (uint8_t)(reg >> 8);
	buf[1] = (uint8_t)reg;
	buf[2] = (uint8_t)(val >> 8);
	buf[3] = (uint8_t)val;

	return i2c_write(i2c, buf, sizeof(buf), addr);
}

int i2c_reg_read16_16(const struct device *i2c, uint8_t addr, uint16_t reg, uint16_t *val)
{
	uint8_t reg_buf[2];
	uint8_t data[2];
	int ret;

	reg_buf[0] = (uint8_t)(reg >> 8);
	reg_buf[1] = (uint8_t)reg;

	ret = i2c_write_read(i2c, addr, reg_buf, sizeof(reg_buf), data, sizeof(data));
	if (ret != 0) {
		return ret;
	}

	*val = ((uint16_t)data[0] << 8) | data[1];

	return 0;
}

int i2c_reg_update16_16(const struct device *i2c, uint8_t addr, uint16_t reg,
			uint16_t clear_mask, uint16_t set_value)
{
	uint16_t val;
	int ret;

	ret = i2c_reg_read16_16(i2c, addr, reg, &val);
	if (ret != 0) {
		return ret;
	}

	val = (val & clear_mask) | set_value;

	return i2c_reg_write16_16(i2c, addr, reg, val);
}
```

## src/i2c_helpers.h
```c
/*
 * Copyright (c) 2026
 *
 * SPDX-License-Identifier: Apache-2.0
 */

#ifndef SAMPLE_BAP_BROADCAST_SINK_I2C_HELPERS_H
#define SAMPLE_BAP_BROADCAST_SINK_I2C_HELPERS_H

#include <stdint.h>

#include <zephyr/device.h>

int i2c_reg_write16(const struct device *i2c, uint8_t addr, uint16_t reg, uint8_t val);
int i2c_reg_read16(const struct device *i2c, uint8_t addr, uint16_t reg, uint8_t *val);
int i2c_reg_write16_16(const struct device *i2c, uint8_t addr, uint16_t reg, uint16_t val);
int i2c_reg_read16_16(const struct device *i2c, uint8_t addr, uint16_t reg, uint16_t *val);
int i2c_reg_update16_16(const struct device *i2c, uint8_t addr, uint16_t reg,
			uint16_t clear_mask, uint16_t set_value);

#endif /* SAMPLE_BAP_BROADCAST_SINK_I2C_HELPERS_H */
```

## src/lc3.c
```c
/**
 * @file
 * @brief Bluetooth BAP Broadcast Sink LC3 extension
 *
 * This files handles all the LC3 related functionality for the sample
 *
 * Copyright (c) 2025 Nordic Semiconductor ASA
 *
 * SPDX-License-Identifier: Apache-2.0
 */

#include <errno.h>
#include <stdbool.h>
#include <stddef.h>
#include <stdint.h>
#include <string.h>

#include <zephyr/autoconf.h>
#include <zephyr/bluetooth/audio/audio.h>
#include <zephyr/bluetooth/hci_types.h>
#include <zephyr/bluetooth/iso.h>
#include <zephyr/device.h>
#include <zephyr/devicetree.h>
#include <zephyr/kernel.h>
#include <zephyr/logging/log.h>
#include <zephyr/logging/log_core.h>
#include <zephyr/net_buf.h>
#include <zephyr/shell/shell.h>
#include <zephyr/sys/ring_buffer.h>
#include <zephyr/sys/util.h>
#include <zephyr/sys/util_macro.h>
#include <zephyr/sys_clock.h>
#include <zephyr/toolchain.h>
#include <zephyr/usb/usb_device.h>
#include <zephyr/usb/class/usb_audio.h>

#include <lc3.h>

#include "lc3.h"
#include "codec_output.h"
#include "stream_rx.h"
#include "usb.h"

LOG_MODULE_REGISTER(lc3, CONFIG_LOG_DEFAULT_LEVEL);

#define LC3_ENCODER_STACK_SIZE 4096
#define LC3_ENCODER_PRIORITY   3

struct lc3_data {
	void *fifo_reserved; /* 1st word reserved for use by FIFO */
	struct net_buf *buf;
	struct stream_rx *stream;
	uint32_t ts;
	bool do_plc;
};

K_MEM_SLAB_DEFINE_STATIC(lc3_data_slab, sizeof(struct lc3_data), CONFIG_BT_ISO_RX_BUF_COUNT,
			 __alignof__(struct lc3_data));

static int16_t lc3_rx_buf[LC3_MAX_NUM_SAMPLES_MONO];
static K_FIFO_DEFINE(lc3_in_fifo);

/* We only want to send left/right audio from a single stream. If we have 2 left streams, the
 * outgoing audio is going to be terrible.
 * Since a stream can contain stereo data, both of these may be the same stream.
 */
static struct stream_rx *output_left_stream;
static struct stream_rx *output_right_stream;

static uint32_t get_lc3_output_sample_rate_hz(void)
{
	if (IS_ENABLED(CONFIG_USE_USB_AUDIO_OUTPUT)) {
		return USB_SAMPLE_RATE_HZ;
	}

	return 0U;
}

static int output_add_frame(enum bt_audio_location chan_allocation, const int16_t *frame,
			    size_t frame_size, uint32_t ts)
{
	if (IS_ENABLED(CONFIG_USE_I2S_CODEC_OUTPUT)) {
		return codec_output_add_frame(chan_allocation, frame, frame_size, ts);
	}

	if (IS_ENABLED(CONFIG_USE_USB_AUDIO_OUTPUT)) {
		return usb_add_frame_to_usb(chan_allocation, frame, frame_size, ts);
	}

	return -ENOTSUP;
}

static void output_clear_frames(void)
{
	if (IS_ENABLED(CONFIG_USE_I2S_CODEC_OUTPUT)) {
		codec_output_clear_frames();
	}

	if (IS_ENABLED(CONFIG_USE_USB_AUDIO_OUTPUT)) {
		usb_clear_frames_to_usb();
	}
}

static int init_lc3_decoder(struct stream_rx *stream, uint32_t lc3_frame_duration_us,
			    uint32_t lc3_freq_hz)
{
	const uint32_t output_sample_rate_hz = get_lc3_output_sample_rate_hz();

	if (stream == NULL) {
		LOG_ERR("NULL stream to init LC3 decoder");
		return -EINVAL;
	}

	if (stream->lc3_decoder != NULL) {
		LOG_ERR("Already initialized");
		return -EALREADY;
	}

	if (lc3_freq_hz == 0U || lc3_frame_duration_us == 0U) {
		LOG_ERR("Invalid freq (%u) or frame duration (%u)", lc3_freq_hz,
			lc3_frame_duration_us);

		return -EINVAL;
	}

	LOG_INF("Initializing the LC3 decoder with %u us duration and %u Hz frequency",
		lc3_frame_duration_us, lc3_freq_hz);
	/* Create the decoder instance. This shall complete before stream_started() is called. */
	stream->lc3_decoder =
		lc3_setup_decoder(lc3_frame_duration_us, lc3_freq_hz, output_sample_rate_hz,
				  &stream->lc3_decoder_mem);
	if (stream->lc3_decoder == NULL) {
		LOG_ERR("Failed to setup LC3 decoder - wrong parameters?\n");
		return -EINVAL;
	}

	LOG_INF("Initialized LC3 decoder for %p", stream);

	return 0;
}

static bool decode_frame(struct lc3_data *data, size_t frame_cnt)
{
	const struct stream_rx *stream = data->stream;
	const size_t total_frames = stream->lc3_chan_cnt * stream->lc3_frame_blocks_per_sdu;
	const uint16_t octets_per_frame = stream->lc3_octets_per_frame;
	struct net_buf *buf = data->buf;
	void *iso_data;
	int err;

	if (data->do_plc) {
		iso_data = NULL; /* perform PLC */

#if CONFIG_INFO_REPORTING_INTERVAL > 0
		if ((stream->reporting_info.lc3_decoded_cnt % CONFIG_INFO_REPORTING_INTERVAL) ==
		    0) {
			LOG_DBG("[%zu]: Performing PLC", stream->reporting_info.lc3_decoded_cnt);
		}
#endif /* CONFIG_INFO_REPORTING_INTERVAL > 0 */

		data->do_plc = false; /* clear flag */
	} else {
		iso_data = net_buf_pull_mem(data->buf, octets_per_frame);

#if CONFIG_INFO_REPORTING_INTERVAL > 0
		if ((stream->reporting_info.lc3_decoded_cnt % CONFIG_INFO_REPORTING_INTERVAL) ==
		    0) {
			LOG_DBG("[%zu]: Decoding frame of size %u (%u/%u)",
				stream->reporting_info.lc3_decoded_cnt, octets_per_frame,
				frame_cnt + 1, total_frames);
		}
#endif /* CONFIG_INFO_REPORTING_INTERVAL > 0 */
	}

	err = lc3_decode(stream->lc3_decoder, iso_data, octets_per_frame, LC3_PCM_FORMAT_S16,
			 lc3_rx_buf, 1);
	if (err < 0) {
		LOG_ERR("Failed to decode LC3 data (%u/%u - %u/%u)", frame_cnt + 1, total_frames,
			octets_per_frame * frame_cnt, buf->len);
		return false;
	}

	return true;
}

static int get_lc3_chan_alloc_from_index(const struct stream_rx *stream, uint8_t index,
					 enum bt_audio_location *chan_alloc)
{
#if defined(CONFIG_USE_USB_AUDIO_OUTPUT) || defined(CONFIG_USE_I2S_CODEC_OUTPUT)
	const bool has_left = (stream->lc3_chan_allocation & BT_AUDIO_LOCATION_FRONT_LEFT) != 0;
	const bool has_right = (stream->lc3_chan_allocation & BT_AUDIO_LOCATION_FRONT_RIGHT) != 0;
	const bool is_mono = stream->lc3_chan_allocation == BT_AUDIO_LOCATION_MONO_AUDIO;
	const bool is_left = index == 0 && has_left;
	const bool is_right = has_right && (index == 0U || (index == 1U && has_left));

	/* LC3 is always Left before Right, so we can use the index and the stream channel
	 * allocation to determine if index 0 is left or right.
	 */
	if (is_left) {
		*chan_alloc = BT_AUDIO_LOCATION_FRONT_LEFT;
	} else if (is_right) {
		*chan_alloc = BT_AUDIO_LOCATION_FRONT_RIGHT;
	} else if (is_mono) {
		*chan_alloc = BT_AUDIO_LOCATION_MONO_AUDIO;
	} else {
		/* Not suitable for USB */
		return -EINVAL;
	}

	return 0;
#else  /* !CONFIG_USE_USB_AUDIO_OUTPUT && !CONFIG_USE_I2S_CODEC_OUTPUT */
	return -EINVAL;
#endif /* CONFIG_USE_USB_AUDIO_OUTPUT || CONFIG_USE_I2S_CODEC_OUTPUT */
}

static size_t decode_frame_block(struct lc3_data *data, size_t frame_cnt)
{
	const struct stream_rx *stream = data->stream;
	const uint8_t chan_cnt = stream->lc3_chan_cnt;
	const size_t pcm_frame_size =
		IS_ENABLED(CONFIG_USE_I2S_CODEC_OUTPUT) ? stream->lc3_pcm_frame_bytes :
							  sizeof(lc3_rx_buf);
	size_t decoded_frames = 0U;

	for (uint8_t i = 0U; i < chan_cnt; i++) {
		/* We provide the total number of decoded frames to `decode_frame` for logging
		 * purposes
		 */
		if (decode_frame(data, frame_cnt + decoded_frames)) {
			decoded_frames++;

			if (IS_ENABLED(CONFIG_USE_USB_AUDIO_OUTPUT) ||
			    IS_ENABLED(CONFIG_USE_I2S_CODEC_OUTPUT)) {
				enum bt_audio_location chan_alloc;
				int err;

				err = get_lc3_chan_alloc_from_index(stream, i, &chan_alloc);
				if (err != 0) {
					/* Not suitable for USB */
					continue;
				}

				/* We only want left/right audio from one stream on the output. */
				if ((chan_alloc == BT_AUDIO_LOCATION_FRONT_LEFT &&
				     stream != output_left_stream) ||
				    (chan_alloc == BT_AUDIO_LOCATION_FRONT_RIGHT &&
				     stream != output_right_stream)) {
					continue;
				}

				/* TODO: Add proper presentation delay support for hardware output. */
				err = output_add_frame(chan_alloc, lc3_rx_buf, pcm_frame_size,
						      data->ts);
				if (err == -EINVAL) {
					continue;
				}
			}
		} else {
			/* If decoding failed, we clear the output data as it would contain
			 * invalid data
			 */
			if (IS_ENABLED(CONFIG_USE_USB_AUDIO_OUTPUT) ||
			    IS_ENABLED(CONFIG_USE_I2S_CODEC_OUTPUT)) {
				output_clear_frames();
			}

			break;
		}
	}

	return decoded_frames;
}

static void do_lc3_decode(struct lc3_data *data)
{
	struct stream_rx *stream = data->stream;

	if (stream->lc3_decoder != NULL) {
		const uint8_t frame_blocks_per_sdu = stream->lc3_frame_blocks_per_sdu;
		size_t frame_cnt;

		frame_cnt = 0;
		for (uint8_t i = 0U; i < frame_blocks_per_sdu; i++) {
			const size_t decoded_frames = decode_frame_block(data, frame_cnt);

			if (decoded_frames == 0) {
				break;
			}

			frame_cnt += decoded_frames;
		}

#if CONFIG_INFO_REPORTING_INTERVAL > 0
		stream->reporting_info.lc3_decoded_cnt++;
#endif /* CONFIG_INFO_REPORTING_INTERVAL > 0 */
	}

	net_buf_unref(data->buf);
}

static void lc3_decoder_thread_func(void *arg1, void *arg2, void *arg3)
{
	while (true) {
		struct lc3_data *data = k_fifo_get(&lc3_in_fifo, K_FOREVER);
		struct stream_rx *stream = data->stream;

		if (stream->lc3_decoder == NULL) {
			LOG_WRN("Decoder is NULL, discarding data from FIFO");
			k_mem_slab_free(&lc3_data_slab, (void *)data);
			continue; /* Wait for new data */
		}

		do_lc3_decode(data);

		k_mem_slab_free(&lc3_data_slab, (void *)data);
	}
}

int lc3_enable(struct stream_rx *stream)
{
	const struct bt_audio_codec_cfg *codec_cfg = stream->stream.codec_cfg;
	uint32_t lc3_frame_duration_us;
	uint32_t lc3_freq_hz;
	uint64_t mono_samples_per_frame;
	int ret;

	if (codec_cfg->id != BT_HCI_CODING_FORMAT_LC3) {
		return -EINVAL;
	}

	ret = bt_audio_codec_cfg_get_freq(codec_cfg);
	if (ret >= 0) {
		ret = bt_audio_codec_cfg_freq_to_freq_hz(ret);

		if (ret > 0) {
			if (ret == 8000 || ret == 16000 || ret == 24000 || ret == 32000 ||
			    ret == 48000) {
				lc3_freq_hz = (uint32_t)ret;
			} else {
				LOG_ERR("Unsupported frequency for LC3: %d", ret);
				lc3_freq_hz = 0U;
			}
		} else {
			LOG_ERR("Invalid frequency: %d", ret);
			lc3_freq_hz = 0U;
		}
	} else {
		LOG_ERR("Could not get frequency: %d", ret);
		lc3_freq_hz = 0U;
	}

	if (lc3_freq_hz == 0U) {
		return -EINVAL;
	}

	ret = bt_audio_codec_cfg_get_frame_dur(codec_cfg);
	if (ret >= 0) {
		ret = bt_audio_codec_cfg_frame_dur_to_frame_dur_us(ret);
		if (ret > 0) {
			lc3_frame_duration_us = (uint32_t)ret;
		} else {
			LOG_ERR("Invalid frame duration: %d", ret);
			lc3_frame_duration_us = 0U;
		}
	} else {
		LOG_ERR("Could not get frame duration: %d", ret);
		lc3_frame_duration_us = 0U;
	}

	if (lc3_frame_duration_us == 0U) {
		return -EINVAL;
	}

	ret = bt_audio_codec_cfg_get_chan_allocation(codec_cfg, &stream->lc3_chan_allocation, true);
	if (ret == 0) {
		stream->lc3_chan_cnt = bt_audio_get_chan_count(stream->lc3_chan_allocation);
	} else {
		LOG_DBG("Could not get channel allocation: %d", ret);
		stream->lc3_chan_cnt = 0U;
	}

	if (stream->lc3_chan_cnt == 0U) {
		return -EINVAL;
	}

	ret = bt_audio_codec_cfg_get_frame_blocks_per_sdu(codec_cfg, true);
	if (ret >= 0) {
		stream->lc3_frame_blocks_per_sdu = (uint8_t)ret;
	} else {
		LOG_ERR("Could not get frame blocks per SDU: %d", ret);
		stream->lc3_frame_blocks_per_sdu = 0U;
	}

	if (stream->lc3_frame_blocks_per_sdu == 0U) {
		return -EINVAL;
	}

	ret = bt_audio_codec_cfg_get_octets_per_frame(codec_cfg);
	if (ret >= 0) {
		stream->lc3_octets_per_frame = (uint16_t)ret;
	} else {
		LOG_ERR("Could not get octets per frame: %d", ret);
		stream->lc3_octets_per_frame = 0U;
	}

	if (stream->lc3_octets_per_frame == 0U) {
		return -EINVAL;
	}

	stream->lc3_pcm_rate_hz = get_lc3_output_sample_rate_hz();
	if (stream->lc3_pcm_rate_hz == 0U) {
		stream->lc3_pcm_rate_hz = lc3_freq_hz;
	}

	mono_samples_per_frame =
		((uint64_t)lc3_frame_duration_us * stream->lc3_pcm_rate_hz) / USEC_PER_SEC;
	stream->lc3_pcm_frame_bytes = (uint16_t)(mono_samples_per_frame * sizeof(int16_t));
	if (stream->lc3_pcm_frame_bytes == 0U ||
	    stream->lc3_pcm_frame_bytes > sizeof(lc3_rx_buf)) {
		LOG_ERR("Unsupported PCM frame size %u bytes", stream->lc3_pcm_frame_bytes);
		return -EINVAL;
	}

	if (stream->lc3_decoder == NULL) {
		const int err = init_lc3_decoder(stream, lc3_frame_duration_us, lc3_freq_hz);

		if (err != 0) {
			LOG_ERR("Failed to init LC3 decoder: %d", err);

			return err;
		}
	}

	if (IS_ENABLED(CONFIG_USE_USB_AUDIO_OUTPUT) || IS_ENABLED(CONFIG_USE_I2S_CODEC_OUTPUT)) {
		if ((stream->lc3_chan_allocation & BT_AUDIO_LOCATION_FRONT_LEFT) != 0) {
			if (output_left_stream == NULL) {
				LOG_INF("Setting output left stream to %p", stream);
				output_left_stream = stream;
			} else {
				LOG_WRN("Multiple left streams started");
			}
		}

		if ((stream->lc3_chan_allocation & BT_AUDIO_LOCATION_FRONT_RIGHT) != 0) {
			if (output_right_stream == NULL) {
				LOG_INF("Setting output right stream to %p", stream);
				output_right_stream = stream;
			} else {
				LOG_WRN("Multiple right streams started");
			}
		}
	}

	return 0;
}

int lc3_disable(struct stream_rx *stream)
{
	if (stream->lc3_decoder == NULL) {
		return -EINVAL;
	}

	stream->lc3_decoder = NULL;

	if (IS_ENABLED(CONFIG_USE_USB_AUDIO_OUTPUT) || IS_ENABLED(CONFIG_USE_I2S_CODEC_OUTPUT)) {
		if (output_left_stream == stream) {
			output_left_stream = NULL;
		}
		if (output_right_stream == stream) {
			output_right_stream = NULL;
		}

		output_clear_frames();
	}

	return 0;
}

void lc3_enqueue_for_decoding(struct stream_rx *stream, const struct bt_iso_recv_info *info,
			      struct net_buf *buf)
{
	const uint8_t frame_blocks_per_sdu = stream->lc3_frame_blocks_per_sdu;
	const uint16_t octets_per_frame = stream->lc3_octets_per_frame;
	const uint8_t chan_cnt = stream->lc3_chan_cnt;
	struct lc3_data *data;

	if (stream->lc3_decoder == NULL) {
		return;
	}

	/* Allocate a context that holds both the buffer and the stream so that we can
	 * send both of these values to the LC3 decoder thread as a single struct
	 * in a FIFO
	 */
	if (k_mem_slab_alloc(&lc3_data_slab, (void **)&data, K_NO_WAIT)) {
		LOG_WRN("Could not allocate LC3 data item");
		return;
	}

	if ((info->flags & BT_ISO_FLAGS_VALID) == 0) {
		data->do_plc = true;
	} else if (buf->len != (octets_per_frame * chan_cnt * frame_blocks_per_sdu)) {
		if (buf->len != 0U) {
			LOG_WRN("Expected %u frame blocks with %u channels of size %u, but "
				"length is %u",
				frame_blocks_per_sdu, chan_cnt, octets_per_frame, buf->len);
		}

		data->do_plc = true;
	}

	data->buf = net_buf_ref(buf);
	data->stream = stream;
	if (info->flags & BT_ISO_FLAGS_TS) {
		data->ts = info->ts;
	} else {
		data->ts = 0U;
	}

	k_fifo_put(&lc3_in_fifo, data);
}

int lc3_init(void)
{
	static K_KERNEL_STACK_DEFINE(lc3_decoder_thread_stack, LC3_ENCODER_STACK_SIZE);
	const int lc3_decoder_thread_prio = K_PRIO_PREEMPT(LC3_ENCODER_PRIORITY);
	static struct k_thread lc3_decoder_thread;
	static bool initialized;

	if (initialized) {
		return -EALREADY;
	}

	k_thread_create(&lc3_decoder_thread, lc3_decoder_thread_stack,
			K_KERNEL_STACK_SIZEOF(lc3_decoder_thread_stack), lc3_decoder_thread_func,
			NULL, NULL, NULL, lc3_decoder_thread_prio, 0, K_NO_WAIT);
	k_thread_name_set(&lc3_decoder_thread, "LC3 Decoder");

	LOG_INF("LC3 initialized");
	initialized = true;

	return 0;
}
```

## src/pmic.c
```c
/*
 * Copyright (c) 2026
 *
 * SPDX-License-Identifier: Apache-2.0
 */

#include <errno.h>
#include <stdbool.h>
#include <stdint.h>

#include <zephyr/device.h>
#include <zephyr/drivers/i2c.h>
#include <zephyr/kernel.h>
#include <zephyr/sys/printk.h>

#include "pmic.h"

/* nPM1304 PMIC on the custom audio board */
#define NPM1304_ADDR            0x6B

#define BUCK1_VOUT_REG          0x0408
#define BUCK2_VOUT_REG          0x040A
#define BUCK_SW_CTRL_REG        0x040F
#define BUCK1_VOUT_VAL          24U
#define BUCK2_VOUT_VAL          24U
#define BUCK_SW_ENABLE_ALL      0x03

#define LDO1_MODE_REG           0x0808
#define LDO2_MODE_REG           0x0809
#define LDO1_VOUT_REG           0x080C
#define LDO2_VOUT_REG           0x080D
#define LDO1_SET_REG            0x0800
#define LDO2_SET_REG            0x0802
#define LDO1_VOUT_VAL           10U
#define LDO2_VOUT_VAL           8U
#define LDO_MODE_ENABLE         1U
#define LDO_ENABLE              1U

#define LED0_MODE_REG           0x0A00
#define LED1_MODE_REG           0x0A01
#define LED2_MODE_REG           0x0A02
#define LED_MODE_HOST           0x02

#define TRY(_expr)                                                                          \
	do {                                                                                \
		int _ret = (_expr);                                                         \
                                                                                         \
		if (_ret != 0) {                                                            \
			return _ret;                                                        \
		}                                                                            \
	} while (false)

static const struct device *const pmic_i2c = DEVICE_DT_GET(DT_NODELABEL(i2c2));

static int pmic_reg_write(uint16_t reg, uint8_t val)
{
	uint8_t buf[3];

	buf[0] = (uint8_t)(reg >> 8);
	buf[1] = (uint8_t)reg;
	buf[2] = val;

	return i2c_write(pmic_i2c, buf, sizeof(buf), NPM1304_ADDR);
}

static int pmic_init_bucks(void)
{
	TRY(pmic_reg_write(BUCK1_VOUT_REG, 10U));
	k_msleep(2);

	TRY(pmic_reg_write(BUCK2_VOUT_REG, BUCK2_VOUT_VAL));
	k_msleep(2);

	TRY(pmic_reg_write(BUCK_SW_CTRL_REG, BUCK_SW_ENABLE_ALL));
	k_msleep(2);

	for (uint8_t voltage = 11U; voltage <= BUCK1_VOUT_VAL; voltage++) {
		TRY(pmic_reg_write(BUCK1_VOUT_REG, voltage));
		k_msleep(2);
	}

	return 0;
}

static int pmic_init_ldos(void)
{
	TRY(pmic_reg_write(LDO1_VOUT_REG, LDO1_VOUT_VAL));
	k_msleep(2);

	TRY(pmic_reg_write(LDO2_VOUT_REG, LDO2_VOUT_VAL));
	k_msleep(2);

	TRY(pmic_reg_write(LDO1_MODE_REG, LDO_MODE_ENABLE));
	k_msleep(2);

	TRY(pmic_reg_write(LDO2_MODE_REG, LDO_MODE_ENABLE));
	k_msleep(2);

	TRY(pmic_reg_write(LDO1_SET_REG, LDO_ENABLE));
	k_msleep(2);

	for (uint8_t voltage = 2U; voltage <= 22U; voltage++) {
		TRY(pmic_reg_write(LDO1_VOUT_REG, voltage));
		k_msleep(10);
	}

	TRY(pmic_reg_write(LDO2_SET_REG, LDO_ENABLE));
	k_msleep(20);

	return 0;
}

static int pmic_init_leds(void)
{
	TRY(pmic_reg_write(LED0_MODE_REG, LED_MODE_HOST));
	k_msleep(2);
	TRY(pmic_reg_write(LED1_MODE_REG, LED_MODE_HOST));
	k_msleep(2);
	TRY(pmic_reg_write(LED2_MODE_REG, LED_MODE_HOST));
	k_msleep(2);

	return 0;
}

int pmic_init(void)
{
	int ret;

	if (!device_is_ready(pmic_i2c)) {
		printk("PMIC I2C not ready\n");
		return -ENODEV;
	}

	ret = pmic_init_bucks();
	if (ret != 0) {
		printk("PMIC BUCK init failed: %d\n", ret);
		return ret;
	}

	ret = pmic_init_ldos();
	if (ret != 0) {
		printk("PMIC LDO init failed: %d\n", ret);
		return ret;
	}

	ret = pmic_init_leds();
	if (ret != 0) {
		printk("PMIC LED init failed: %d\n", ret);
		return ret;
	}

	return 0;
}
```

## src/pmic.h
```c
/*
 * Copyright (c) 2026
 *
 * SPDX-License-Identifier: Apache-2.0
 */

#ifndef SAMPLE_BAP_BROADCAST_SINK_PMIC_H
#define SAMPLE_BAP_BROADCAST_SINK_PMIC_H

int pmic_init(void);

#endif /* SAMPLE_BAP_BROADCAST_SINK_PMIC_H */
```
